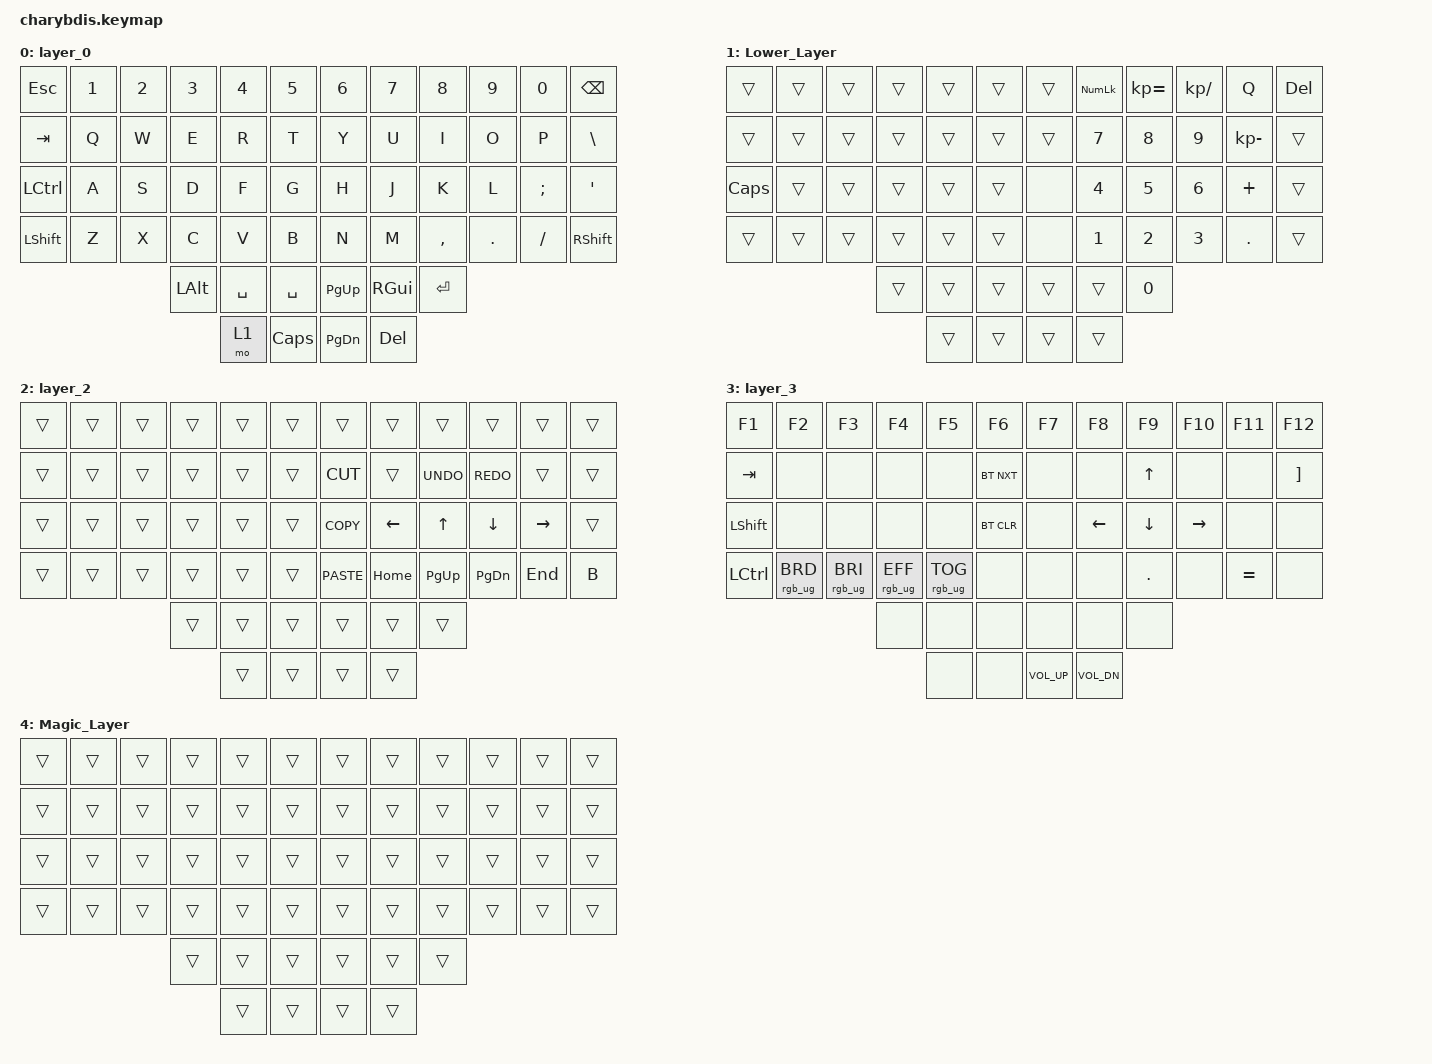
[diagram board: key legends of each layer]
#include <behaviors.dtsi>
#include <dt-bindings/zmk/bt.h>
#include <dt-bindings/zmk/keys.h>
#include <dt-bindings/zmk/rgb.h>

&lt {
    tapping-term-ms = <200>;
    flavor = "balanced";
    quick-tap-ms = <150>;
};

/ {
    keymap {
        compatible = "zmk,keymap";

        layer_0 {
            bindings = <
&kp ESC           &kp N1  &kp N2  &kp N3        &kp N4     &kp N5       &kp N6         &kp N7         &kp N8     &kp N9      &kp N0     &kp BSPC
&kp TAB           &kp Q   &kp W   &kp E         &kp R      &kp T        &kp Y          &kp U          &kp I      &kp O       &kp P      &kp BACKSLASH
&kp LEFT_CONTROL  &kp A   &kp S   &kp D         &kp F      &kp G        &kp H          &kp J          &kp K      &kp L       &kp SEMI   &kp SQT
&kp LEFT_SHIFT    &kp Z   &kp X   &kp C         &kp V      &kp B        &kp N          &kp M          &kp COMMA  &kp PERIOD  &kp SLASH  &kp RIGHT_SHIFT
                                  &kp LEFT_ALT  &kp SPACE  &kp SPACE    &kp PG_UP      &kp RIGHT_GUI  &kp ENTER
                                                &mo 1      &kp CAPS     &kp PAGE_DOWN  &kp DELETE
            >;
        };

        Lower_Layer {
            bindings = <
&trans        &trans  &trans  &trans  &trans  &trans    &trans  &kp KP_NUMLOCK  &kp KP_EQUAL  &kp KP_DIVIDE  &kp Q            &kp DELETE
&trans        &trans  &trans  &trans  &trans  &trans    &trans  &kp N7          &kp N8        &kp N9         &kp KP_SUBTRACT  &trans
&kp CAPSLOCK  &trans  &trans  &trans  &trans  &trans    &none   &kp N4          &kp N5        &kp N6         &kp PLUS         &trans
&trans        &trans  &trans  &trans  &trans  &trans    &none   &kp N1          &kp N2        &kp N3         &kp DOT          &trans
                              &trans  &trans  &trans    &trans  &trans          &kp N0
                                      &trans  &trans    &trans  &trans
            >;
        };

        layer_2 {
            bindings = <
&trans  &trans  &trans  &trans  &trans  &trans    &trans       &trans          &trans        &trans         &trans     &trans
&trans  &trans  &trans  &trans  &trans  &trans    &kp K_CUT    &trans          &kp K_UNDO    &kp K_REDO     &trans     &trans
&trans  &trans  &trans  &trans  &trans  &trans    &kp K_COPY   &kp LEFT_ARROW  &kp UP_ARROW  &kp DOWN       &kp RIGHT  &trans
&trans  &trans  &trans  &trans  &trans  &trans    &kp K_PASTE  &kp HOME        &kp PAGE_UP   &kp PAGE_DOWN  &kp END    &kp B
                        &trans  &trans  &trans    &trans       &trans          &trans
                                &trans  &trans    &trans       &trans
            >;
        };

        layer_3 {
            bindings = <
&kp F1     &kp F2           &kp F3           &kp F4           &kp F5           &kp F6        &kp F7        &kp F8        &kp F9      &kp F10    &kp F11    &kp F12
&kp TAB    &none            &none            &none            &none            &bt BT_NXT    &none         &none         &kp UP      &none      &none      &kp RBKT
&kp LSHFT  &none            &none            &none            &none            &bt BT_CLR    &none         &kp LEFT      &kp DOWN    &kp RIGHT  &none      &none
&kp LCTRL  &rgb_ug RGB_BRD  &rgb_ug RGB_BRI  &rgb_ug RGB_EFF  &rgb_ug RGB_TOG  &none         &none         &none         &kp PERIOD  &none      &kp EQUAL  &none
                                             &none            &none            &none         &none         &none         &none
                                                              &none            &none         &kp C_VOL_UP  &kp C_VOL_DN
            >;
        };

        Magic_Layer {
            bindings = <
&trans  &trans  &trans  &trans  &trans  &trans    &trans  &trans  &trans  &trans  &trans  &trans
&trans  &trans  &trans  &trans  &trans  &trans    &trans  &trans  &trans  &trans  &trans  &trans
&trans  &trans  &trans  &trans  &trans  &trans    &trans  &trans  &trans  &trans  &trans  &trans
&trans  &trans  &trans  &trans  &trans  &trans    &trans  &trans  &trans  &trans  &trans  &trans
                        &trans  &trans  &trans    &trans  &trans  &trans
                                &trans  &trans    &trans  &trans
            >;
        };

        /* layer_2 {
            bindings = <
&none  &none   &none    &none   &none         &none         &kp N1         &none         &none     &none  &none   &to 0
&none  &none   &none    &none   &none         &none         &none         &none          &rgb_ug RGB_BRD &rgb_ug RGB_BRI  &rgb_ug RGB_EFF   &rgb_ug RGB_TOG
&none  &none   &none    &none   &none         &none         &none         &mkp LCLK     &mkp RCLK  &none  &none   &none
&none  &none   &none    &none   &bt BT_NXT  &bt BT_CLR    &none         &none         &none     &none  &none   &none
                                   &none         &none         &none         &none         &none
                                                 &none         &none         &none
            >;
          trackball-bindings = <&tsl>;
            
        };

       Mouse {
            bindings = <
&none        &none         &none         &none         &none      &none         &none       &none      &none         &none         &none         &none
&none        &bt BT_SEL 0  &bt BT_SEL 1  &bt BT_SEL 3  &none      &bt BT_CLR    &bt BT_CLR  &none      &bt BT_SEL 2  &bt BT_SEL 1  &bt BT_SEL 0  &none
&none        &trans        &trans        &mkp MCLK     &trans     &none         &none       &trans     &mkp MCLK     &trans        &trans        &none
&bootloader  &trans        &mkp RCLK     &mo 4         &mkp LCLK  &mo 5         &mo 5       &mkp LCLK  &mo 4         &mkp RCLK     &trans        &bootloader
                                         &mo 5         &mkp LCLK  &mkp RCLK     &mkp RCLK   &mkp LCLK
                                                       &none      &trans        &trans
            >;

            
        };

        layer_4 {
            bindings = <
&trans  &trans  &trans     &trans     &trans     &trans       &trans     &trans     &trans     &trans     &trans  &trans
&trans  &trans  &trans     &trans     &trans     &trans       &trans     &trans     &trans     &trans     &trans  &trans
&trans  &trans  &trans     &mkp MCLK  &trans     &trans       &trans     &trans     &mkp MCLK  &trans     &trans  &trans
&trans  &trans  &mkp RCLK  &trans     &mkp LCLK  &trans       &trans     &mkp LCLK  &trans     &mkp RCLK  &trans  &trans
                           &trans     &mkp LCLK  &mkp RCLK    &mkp RCLK  &mkp LCLK
                                      &trans     &trans       &trans
            >;
                
                
                trackball-bindings = <&tsl>;
        };

        layer_5 {
            bindings = <
&trans  &trans  &trans     &trans     &trans     &trans       &trans     &trans     &trans     &trans     &trans  &trans
&trans  &trans  &trans     &trans     &trans     &trans       &trans     &trans     &trans     &trans     &trans  &trans
&trans  &trans  &trans     &mkp MCLK  &trans     &trans       &trans     &trans     &mkp MCLK  &trans     &trans  &trans
&trans  &trans  &mkp RCLK  &trans     &mkp LCLK  &trans       &trans     &mkp LCLK  &trans     &mkp RCLK  &trans  &trans
                           &trans     &mkp LCLK  &mkp RCLK    &mkp RCLK  &mkp LCLK
                                      &trans     &trans       &trans
            >;
                trackball-bindings = <&tmv_fine>;
                
        };*/
    };
};
